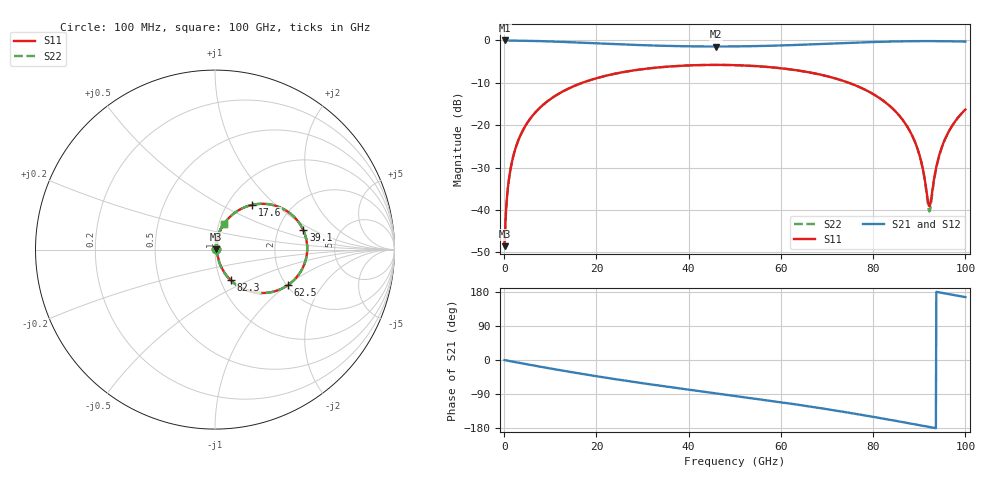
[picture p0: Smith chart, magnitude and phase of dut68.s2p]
! Touchstone file exported from HFSS 2026.1.0
!  File:  C:/ffzhzh/LocalFiles/Ansys_Project_Files/temp_train_RDL_68_1783498570_55944.aedt
!  Generated:  04:17:32 PM Jul  8, 2026
!  Design:  RDL
!  Project:  temp_train_RDL_68_1783498570_55944
! Variables:
!  h_bsmrdl = 2um
!  h_ox = 20um
!  h_rdl = 5um
!  h_sub = 80um
!  h_tmrdl = 3.62um
!  h_tsv = 80um
!  h_via = 3um
!  l_bsmrdl = 300um
!  l_sub = 1043.61um
!  l_tmrdl = 643.61um
!  m_sub = 200um
!  pitch = 47.6um
!  r_tsv = 6um
!  s_tmrdl = 10um
!  w_bsmrdl = 18um
!  w_sub = 500um
!  w_tmrdl = 23.77um
!  x_tsv_center1 = 655.495um
!  x_tsv_center2 = 973.495um
!  x_tsv_center3 = 1640.875um
!  x_tsv_center4 = 1958.875um
!  x_tsv_center5 = 2626.255um
!  x_tsv_center6 = 2944.255um
# GHz S MA R 50.000000
! Terminal data exported
! Port[1] = TM_RDL1_1_T1
! Port[2] = TM_RDL1_1_T2
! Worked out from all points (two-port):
!   1000 points, 100 MHz to 100 GHz, reference 50 ohm
!   highest |S21| = -0.02 dB at 100 MHz (marker M1); lowest = -1.5 dB at 45.9 GHz (marker M2)
!   |S21| within 3 dB of the highest: start of sweep to end of sweep
!   lowest |S11| = -48.5 dB at 100 MHz (marker M3), VSWR 1.01, Z = 50.3 + j0.243 ohm
!   |S11| at or under -10 dB: start of sweep to 16.96 GHz; 74.71 GHz to end of sweep
!   |S22| runs from -48.5 to -5.8 dB; largest |S21 - S12| = 1.8e-14
!   S11 on the Smith chart (normalised r, x): 100 MHz: 1.01, +0.00; 17.6 GHz: 1.30, +0.72; 39.1 GHz: 2.77, +0.80; 62.5 GHz: 2.03, -1.01; 82.3 GHz: 1.12, -0.40; 100 GHz: 1.06, +0.31
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0.1  0.003752 40.1  0.9971 -0.2  0.9971 -0.2  0.003752 40.1
! Gamma 0 0 0 0
! Port Impedance 50 0 50 0
0.9  0.02016 77.5  0.9961 -2.1  0.9961 -2.1  0.02016 77.5
1.5  0.0329 79.8  0.9956 -3.5  0.9956 -3.5  0.0329 79.8
2.6  0.0563 79.6  0.9941 -6.0  0.9941 -6.0  0.05631 79.6
4.1  0.08775 77.2  0.991 -9.4  0.991 -9.4  0.08775 77.2
9  0.1842 67.3  0.9749 -20.2  0.9749 -20.2  0.1842 67.3
16.8  0.3139 51.6  0.9389 -36.5  0.9389 -36.5  0.3139 51.6
17.6  0.3253 50.1  0.9349 -38.1  0.9349 -38.1  0.3253 50.1
33.4  0.4795 21.7  0.8659 -67.1  0.8659 -67.1  0.4795 21.7
39.1  0.5039 12.3  0.8521 -76.7  0.8521 -76.7  0.504 12.3
45.9  0.5139 1.3  0.8462 -87.9  0.8462 -87.9  0.514 1.3
50.1  0.51 -5.4  0.8484 -94.8  0.8484 -94.8  0.5101 -5.5
62.5  0.4512 -26.1  0.8795 -115.9  0.8795 -115.9  0.4513 -26.1
66.7  0.4139 -33.5  0.8967 -123.5  0.8967 -123.5  0.4141 -33.6
82.3  0.1924 -62.7  0.9637 -154.9  0.9637 -154.9  0.1926 -63.0
83.4  0.1723 -64.7  0.9671 -157.3  0.9671 -157.3  0.1725 -65.0
89  0.06485 -70.7  0.9785 -169.6  0.9785 -169.6  0.06489 -71.9
90.5  0.0357 -65.8  0.9796 -173.0  0.9796 -173.0  0.03554 -68.0
92.2  0.01109 3.4  0.9797 -176.8  0.9797 -176.8  0.009637 1.9
93.9  0.036 70.7  0.9788 179.4  0.9788 179.4  0.03531 72.9
95.2  0.06113 75.3  0.9773 176.5  0.9773 176.5  0.0606 76.7
100  0.1529 71.2  0.9666 165.9  0.9666 165.9  0.1526 71.8
